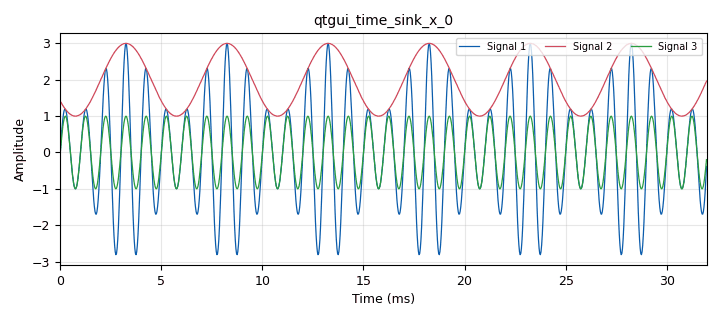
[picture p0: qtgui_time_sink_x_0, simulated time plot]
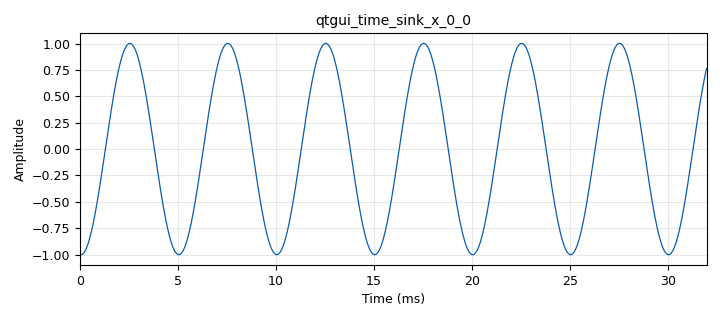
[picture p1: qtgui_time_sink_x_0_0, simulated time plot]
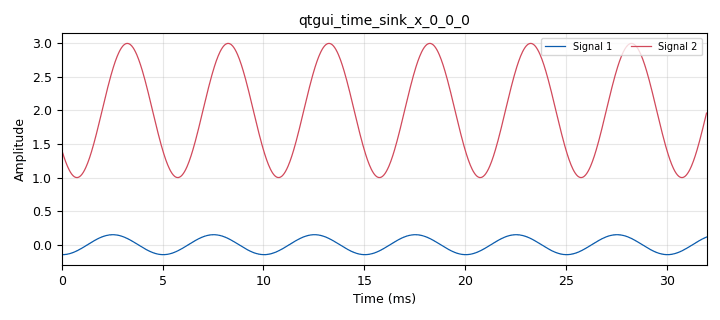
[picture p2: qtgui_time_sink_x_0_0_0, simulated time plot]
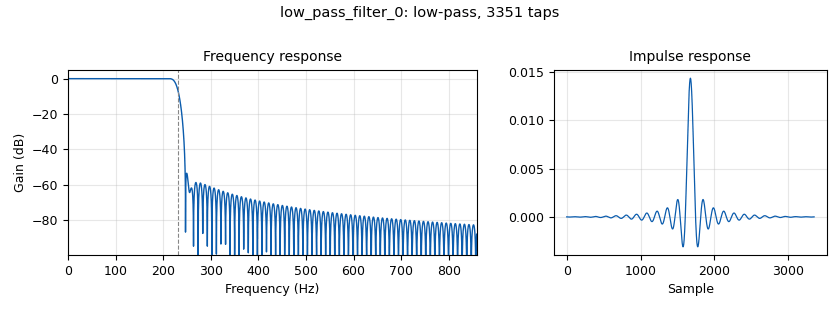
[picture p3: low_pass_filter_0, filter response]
options:
  parameters:
    author: rmoulin
    generate_options: qt_gui
    id: manip2
    output_language: python
    title: Not titled yet
  states: {}

blocks:
- name: fc
  id: variable
  parameters:
    value: 1e3
  states: {}
- name: fcfiltre
  id: variable
  parameters:
    value: '230'
  states: {}
- name: samp_rate
  id: variable
  parameters:
    value: 32e3
  states: {}
- name: analog_sig_source_x_0
  id: analog_sig_source_x
  parameters:
    amp: '1'
    freq: '200'
    offset: '2'
    phase: '0'
    samp_rate: samp_rate
    type: float
    waveform: analog.GR_SIN_WAVE
  states: {}
- name: analog_sig_source_x_1
  id: analog_sig_source_x
  parameters:
    amp: '1'
    freq: fc
    offset: '0'
    phase: '0'
    samp_rate: samp_rate
    type: float
    waveform: analog.GR_SIN_WAVE
  states: {}
- name: analog_sig_source_x_1_0
  id: analog_sig_source_x
  parameters:
    amp: '2'
    freq: fc
    offset: '0'
    phase: '0'
    samp_rate: samp_rate
    type: float
    waveform: analog.GR_SIN_WAVE
  states: {}
- name: blocks_abs_xx_0
  id: blocks_abs_xx
  parameters:
    type: float
  states: {}
- name: blocks_multiply_xx_0
  id: blocks_multiply_xx
  parameters:
    type: float
  states: {}
- name: blocks_multiply_xx_1
  id: blocks_multiply_xx
  parameters:
    type: float
  states: {}
- name: dc_blocker_xx_0
  id: dc_blocker_xx
  parameters:
    length: '512'
    long_form: 'True'
    type: ff
  states: {}
- name: dc_blocker_xx_0_0
  id: dc_blocker_xx
  parameters:
    length: '32'
    long_form: 'True'
    type: ff
  states: {}
- name: low_pass_filter_0
  id: low_pass_filter
  parameters:
    cutoff_freq: fcfiltre
    decim: '1'
    gain: '1'
    samp_rate: samp_rate
    type: fir_filter_fff
    width: 0.1*fcfiltre
    win: firdes.WIN_HAMMING
  states: {}
- name: low_pass_filter_0_0
  id: low_pass_filter
  parameters:
    cutoff_freq: fcfiltre
    decim: '1'
    gain: '1'
    samp_rate: samp_rate
    type: fir_filter_fff
    width: 0.1*fcfiltre
    win: firdes.WIN_HAMMING
  states: {}
- name: qtgui_freq_sink_x_0
  id: qtgui_freq_sink_x
  parameters:
    bw: samp_rate
    ctrlpanel: 'True'
    fc: '0'
    fftsize: '1024'
    type: complex
    wintype: firdes.WIN_BLACKMAN_hARRIS
  states: {state: disabled}
- name: qtgui_freq_sink_x_1
  id: qtgui_freq_sink_x
  parameters:
    bw: samp_rate
    ctrlpanel: 'True'
    fc: '0'
    fftsize: '1024'
    nconnections: '3'
    type: complex
    wintype: firdes.WIN_FLATTOP
  states: {state: disabled}
- name: qtgui_time_sink_x_0
  id: qtgui_time_sink_x
  parameters:
    autoscale: 'True'
    ctrlpanel: 'True'
    nconnections: '3'
    size: '1024'
    srate: samp_rate
    type: float
  states: {}
- name: qtgui_time_sink_x_0_0
  id: qtgui_time_sink_x
  parameters:
    autoscale: 'True'
    ctrlpanel: 'True'
    size: '1024'
    srate: samp_rate
    type: float
  states: {}
- name: qtgui_time_sink_x_0_0_0
  id: qtgui_time_sink_x
  parameters:
    autoscale: 'True'
    ctrlpanel: 'True'
    nconnections: '2'
    size: '1024'
    srate: samp_rate
    type: float
  states: {}

connections:
- [analog_sig_source_x_0, '0', blocks_multiply_xx_0, '0']
- [analog_sig_source_x_0, '0', qtgui_freq_sink_x_1, '1']
- [analog_sig_source_x_0, '0', qtgui_time_sink_x_0, '1']
- [analog_sig_source_x_0, '0', qtgui_time_sink_x_0_0_0, '1']
- [analog_sig_source_x_1, '0', blocks_multiply_xx_0, '1']
- [analog_sig_source_x_1, '0', qtgui_freq_sink_x_1, '2']
- [analog_sig_source_x_1, '0', qtgui_time_sink_x_0, '2']
- [analog_sig_source_x_1_0, '0', blocks_multiply_xx_1, '0']
- [blocks_abs_xx_0, '0', low_pass_filter_0_0, '0']
- [blocks_multiply_xx_0, '0', blocks_abs_xx_0, '0']
- [blocks_multiply_xx_0, '0', blocks_multiply_xx_1, '1']
- [blocks_multiply_xx_0, '0', qtgui_freq_sink_x_1, '0']
- [blocks_multiply_xx_0, '0', qtgui_time_sink_x_0, '0']
- [blocks_multiply_xx_1, '0', low_pass_filter_0, '0']
- [dc_blocker_xx_0, '0', qtgui_freq_sink_x_0, '0']
- [dc_blocker_xx_0, '0', qtgui_time_sink_x_0_0, '0']
- [dc_blocker_xx_0_0, '0', qtgui_time_sink_x_0_0_0, '0']
- [low_pass_filter_0, '0', dc_blocker_xx_0, '0']
- [low_pass_filter_0_0, '0', dc_blocker_xx_0_0, '0']

metadata:
  file_format: 1
